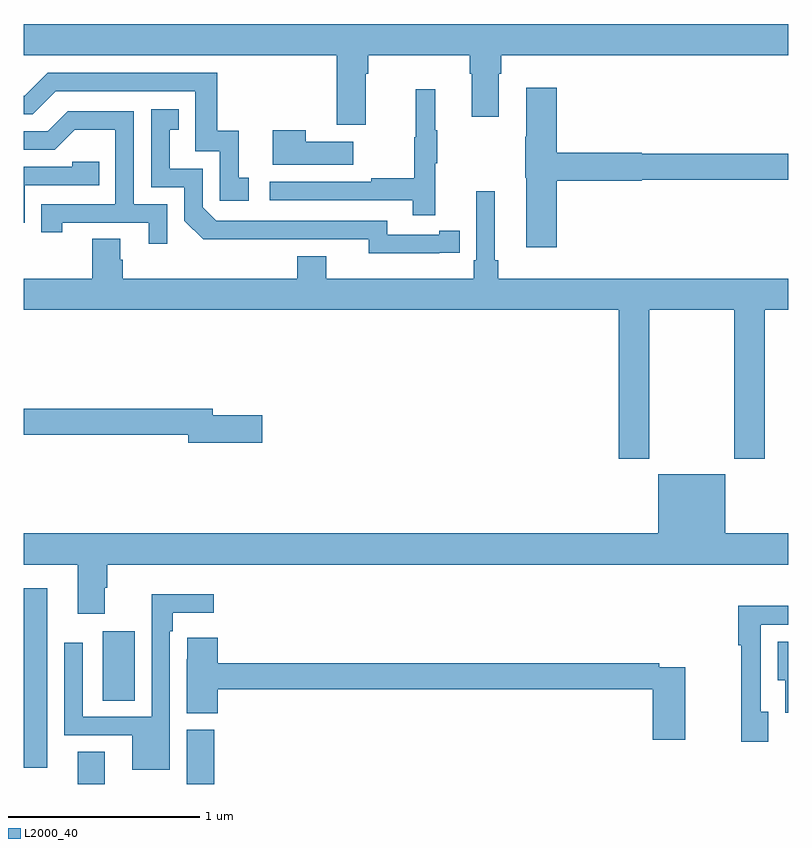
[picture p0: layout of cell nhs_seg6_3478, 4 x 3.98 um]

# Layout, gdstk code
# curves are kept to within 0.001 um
import gdstk
lib = gdstk.Library(unit=1e-6, precision=1e-09)
def R(c, l, rs):  # rectangles x0, y0, x1, y1
    for r in rs: c.add(gdstk.rectangle(r[:2], r[2:], *l))
def P(c, l, *ps):  # polygons
    for p in ps: c.add(gdstk.Polygon(p, *l))
L2000_40 = (2000, 40)

nhs_seg6_3478 = lib.new_cell('nhs_seg6_3478')
R(nhs_seg6_3478, L2000_40, [(315.284,967.5,315.424,967.67), (315.854,967.5,315.998,967.785), (315,967.584,315.124,968.524), (315.413,967.936,315.58,968.299)])
P(nhs_seg6_3478, L2000_40, [(316.789,971.216),(316.802,971.216),(316.802,971.312),(317.333,971.312),(317.333,971.216),(317.345,971.216),(317.345,970.992),(317.485,970.992),(317.485,971.216),(317.498,971.216),(317.498,971.312),(319,971.312),(319,971.476),(315,971.476),(315,971.312),(316.637,971.312),(316.637,970.95),(316.789,970.95)],
  [(316.177,970.671),(316.124,970.671),(316.124,970.918),(316.013,970.918),(316.013,971.22),(315.126,971.22),(315.006,971.1),(315,971.1),(315,971.004),(315.048,971.004),(315.168,971.124),(315.897,971.124),(315.897,970.809),(316.026,970.809),(316.026,970.551),(316.177,970.551)],
  [(317.789,970.655),(318.234,970.655),(318.234,970.66),(319,970.66),(319,970.796),(318.234,970.796),(318.234,970.802),(317.789,970.802),(317.789,971.143),(317.63,971.143),(317.63,970.885),(317.623,970.885),(317.623,970.671),(317.63,970.671),(317.63,970.308),(317.789,970.308)],
  [(317.153,970.747),(317.164,970.747),(317.164,970.921),(317.153,970.921),(317.153,971.134),(317.05,971.134),(317.05,970.884),(317.043,970.884),(317.043,970.67),(316.819,970.67),(316.819,970.65),(316.287,970.65),(316.287,970.554),(317.035,970.554),(317.035,970.476),(317.153,970.476)],
  [(317.174,970.278),(317.282,970.278),(317.282,970.394),(317.174,970.394),(317.174,970.374),(316.902,970.374),(316.902,970.446),(316.008,970.446),(315.936,970.518),(315.936,970.719),(315.763,970.719),(315.763,970.923),(315.812,970.923),(315.812,971.029),(315.666,971.029),(315.666,970.623),(315.84,970.623),(315.84,970.446),(315.938,970.349),(316.806,970.35),(316.806,970.277)],
  [(315.75,970.533),(315.576,970.533),(315.576,971.019),(315.23,971.019),(315.125,970.914),(315,970.914),(315,970.818),(315.162,970.818),(315.266,970.922),(315.48,970.922),(315.48,970.533),(315.091,970.533),(315.091,970.386),(315.202,970.386),(315.202,970.437),(315.653,970.437),(315.653,970.326),(315.75,970.326)],
  [(316.723,970.861),(316.475,970.861),(316.475,970.921),(316.304,970.921),(316.304,970.739),(316.723,970.739)],
  [(315.006,970.632),(315.395,970.632),(315.395,970.755),(315.255,970.755),(315.255,970.728),(315,970.728),(315,970.437),(315.006,970.437)],
  [(318.273,969.98),(318.718,969.98),(318.718,969.201),(318.878,969.201),(318.878,969.98),(319,969.98),(319,970.144),(317.483,970.144),(317.483,970.24),(317.464,970.24),(317.464,970.6),(317.367,970.6),(317.367,970.24),(317.354,970.24),(317.354,970.144),(316.582,970.144),(316.582,970.261),(316.43,970.261),(316.43,970.144),(315.518,970.144),(315.518,970.242),(315.505,970.242),(315.505,970.352),(315.358,970.352),(315.358,970.144),(315,970.144),(315,969.98),(318.113,969.98),(318.113,969.201),(318.273,969.201)],
  [(316.249,969.428),(315.988,969.428),(315.988,969.464),(315,969.464),(315,969.328),(315.86,969.328),(315.86,969.286),(316.249,969.286)],
  [(315.424,968.528),(315.437,968.528),(315.437,968.648),(319,968.648),(319,968.812),(318.67,968.812),(318.67,969.121),(318.32,969.121),(318.32,968.812),(315,968.812),(315,968.648),(315.284,968.648),(315.284,968.391),(315.424,968.391)],
  [(315.765,968.3),(315.781,968.3),(315.781,968.396),(315.994,968.396),(315.994,968.494),(315.669,968.494),(315.669,967.851),(315.309,967.851),(315.309,968.239),(315.213,968.239),(315.213,967.755),(315.569,967.755),(315.569,967.574),(315.765,967.574)],
  [(318.895,967.878),(318.855,967.878),(318.855,968.334),(319,968.334),(319,968.432),(318.739,968.432),(318.739,968.227),(318.754,968.227),(318.754,967.722),(318.895,967.722)],
  [(318.46,968.112),(318.326,968.112),(318.326,968.132),(316.016,968.132),(316.016,968.266),(315.855,968.266),(315.855,968.153),(315.854,968.153),(315.854,967.87),(316.016,967.87),(316.016,967.996),(318.29,967.996),(318.29,967.731),(318.46,967.731)],
  [(319,968.245),(318.944,968.245),(318.944,968.042),(318.983,968.042),(318.983,967.874),(319,967.874)])

lib.write_gds('nhs_seg6_3478.gds')
